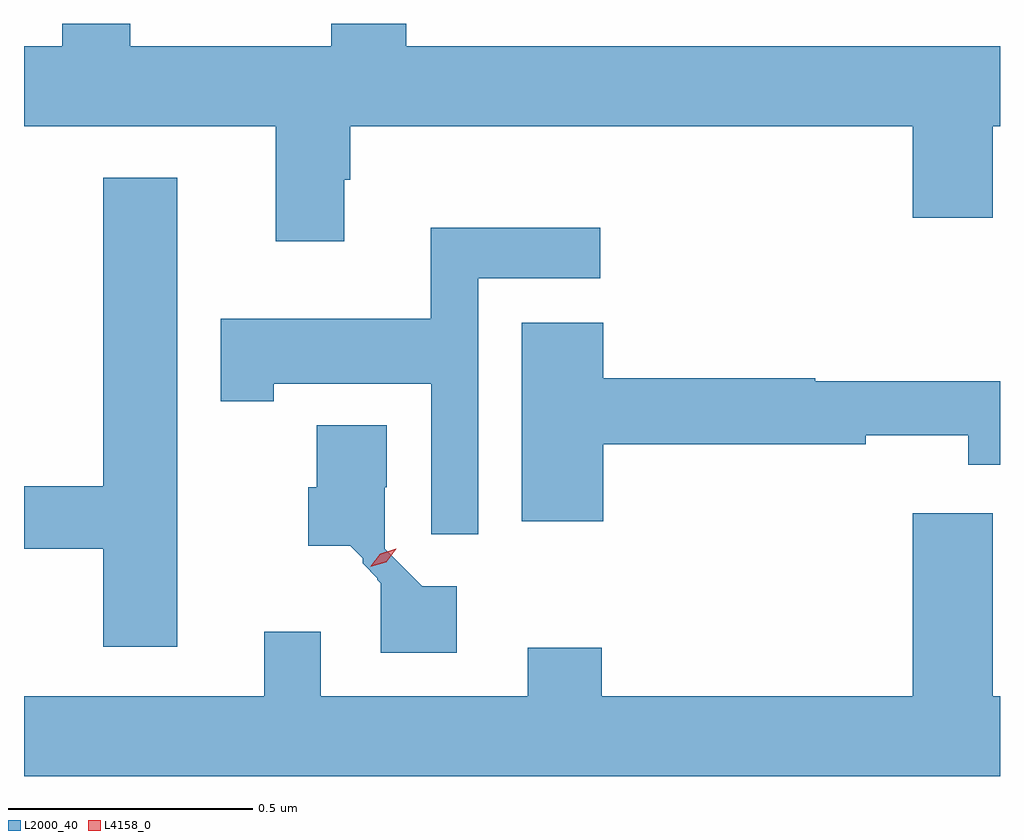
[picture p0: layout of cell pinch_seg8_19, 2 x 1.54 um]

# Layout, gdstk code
import gdstk
lib = gdstk.Library(unit=1e-6, precision=1e-09)
def P(c, l, *ps):  # polygons
    for p in ps: c.add(gdstk.Polygon(p, *l))
L2000_40 = (2000, 40)
L4158_0 = (4158, 0)

pinch_seg8_19 = lib.new_cell('pinch_seg8_19')
P(pinch_seg8_19, L2000_40, [(1026.979,1155.018),(1026.992,1155.018),(1026.992,1155.128),(1028.144,1155.128),(1028.144,1154.94),(1028.308,1154.94),(1028.308,1155.128),(1028.323,1155.128),(1028.323,1155.292),(1027.106,1155.292),(1027.106,1155.338),(1026.953,1155.338),(1026.953,1155.292),(1026.541,1155.292),(1026.541,1155.338),(1026.401,1155.338),(1026.401,1155.292),(1026.323,1155.292),(1026.323,1155.128),(1026.839,1155.128),(1026.839,1154.892),(1026.979,1154.892)],
  [(1026.637,1155.022),(1026.485,1155.022),(1026.485,1154.39),(1026.323,1154.39),(1026.323,1154.262),(1026.485,1154.262),(1026.485,1154.061),(1026.637,1154.061)],
  [(1027.254,1154.816),(1027.504,1154.816),(1027.504,1154.92),(1027.157,1154.92),(1027.157,1154.734),(1026.726,1154.734),(1026.726,1154.564),(1026.835,1154.564),(1026.835,1154.6),(1027.158,1154.6),(1027.158,1154.292),(1027.254,1154.292)],
  [(1027.51,1154.476),(1028.048,1154.476),(1028.048,1154.495),(1028.258,1154.495),(1028.258,1154.434),(1028.323,1154.434),(1028.323,1154.605),(1027.944,1154.605),(1027.944,1154.612),(1027.51,1154.612),(1027.51,1154.725),(1027.343,1154.725),(1027.343,1154.319),(1027.51,1154.319)],
  [(1027.21,1154.185),(1027.139,1154.185),(1027.062,1154.262),(1027.062,1154.388),(1027.066,1154.388),(1027.066,1154.515),(1026.923,1154.515),(1026.923,1154.388),(1026.905,1154.388),(1026.905,1154.268),(1026.992,1154.268),(1027.017,1154.243),(1027.017,1154.232),(1027.047,1154.202),(1027.047,1154.199),(1027.054,1154.192),(1027.054,1154.049),(1027.21,1154.049)],
  [(1028.323,1153.96),(1028.308,1153.96),(1028.308,1154.335),(1028.144,1154.335),(1028.144,1153.96),(1027.507,1153.96),(1027.507,1154.059),(1027.355,1154.059),(1027.355,1153.96),(1026.931,1153.96),(1026.931,1154.092),(1026.815,1154.092),(1026.815,1153.96),(1026.323,1153.96),(1026.323,1153.796),(1028.323,1153.796)])
P(pinch_seg8_19, L4158_0, [(1027.033,1154.225),(1027.033,1154.225),(1027.053,1154.252),(1027.085,1154.262),(1027.086,1154.262),(1027.086,1154.262),(1027.065,1154.235),(1027.033,1154.225)])

lib.write_gds('pinch_seg8_19.gds')
